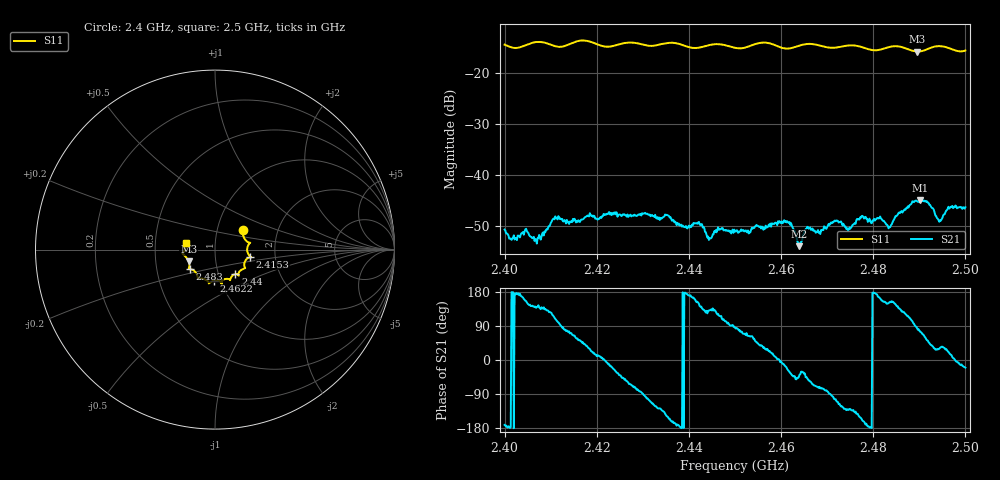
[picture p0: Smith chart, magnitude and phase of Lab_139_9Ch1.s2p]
# Hz S RI R 50
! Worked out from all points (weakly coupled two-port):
!   601 points, 2.4 GHz to 2.5 GHz, reference 50 ohm
!   highest |S21| = -44.96 dB at 2.4902 GHz (marker M1); lowest = -54.0 dB at 2.4638 GHz (marker M2)
!   lowest |S11| = -15.9 dB at 2.4895 GHz (marker M3), VSWR 1.38, Z = 36.9 - j5 ohm
!   |S11| at or under -10 dB: start of sweep to end of sweep
!   S12 and S22 are empty: the file has one direction only
!   S11 on the Smith chart (normalised r, x): 2.4 GHz: 1.33, +0.29; 2.4153 GHz: 1.48, -0.12; 2.44 GHz: 1.20, -0.34; 2.4622 GHz: 0.93, -0.33; 2.483 GHz: 0.74, -0.17; 2.5 GHz: 0.72, +0.06
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2.4e9  0.1549 0.1065  -0.00288 -0.000434  0 0  0 0
2.406833e9  0.1958 0.0381  -0.00172 0.00155  0 0  0 0
2.410833e9  0.1817 0.0159  -0.00133 0.00342  0 0  0 0
2.415333e9  0.1966 -0.0389  0.00178 0.00315  0 0  0 0
2.416667e9  0.202 -0.043  0.0024 0.00274  0 0  0 0
2.433333e9  0.131 -0.1336  -0.00227 -0.0029  0 0  0 0
2.44e9  0.1138 -0.1367  -0.00313 0.000544  0 0  0 0
2.442333e9  0.0932 -0.1495  -0.00259 0.00199  0 0  0 0
2.4445e9  0.0848 -0.166  -0.00158 0.0018  0 0  0 0
2.45e9  0.0648 -0.1628  0.000236 0.00278  0 0  0 0
2.462167e9  -0.00739 -0.1738  0.00269 -0.002  0 0  0 0
2.463833e9  -0.0258 -0.1815  0.00141 -0.00142  0 0  0 0
2.466667e9  -0.0342 -0.1877  0.00138 -0.00256  0 0  0 0
2.471833e9  -0.0679 -0.1621  -0.000817 -0.00341  0 0  0 0
2.474667e9  -0.0912 -0.1605  -0.00193 -0.00216  0 0  0 0
2.477833e9  -0.0986 -0.1461  -0.00366 -0.00122  0 0  0 0
2.483e9  -0.1376 -0.1094  -0.00276 0.0017  0 0  0 0
2.483333e9  -0.1401 -0.1092  -0.00259 0.0015  0 0  0 0
2.4895e9  -0.1464 -0.066  0.000543 0.00548  0 0  0 0
2.490167e9  -0.1511 -0.0565  0.00145 0.00546  0 0  0 0
2.494333e9  -0.1806 -0.0217  0.00301 0.00174  0 0  0 0
2.5e9  -0.1599 0.0393  0.00452 -0.00167  0 0  0 0
